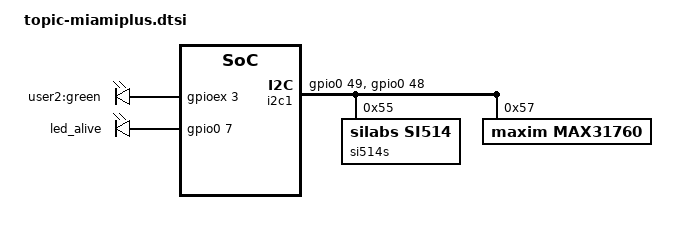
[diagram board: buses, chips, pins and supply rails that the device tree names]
/* the "plus" version has much more I/O pins, but lacks some periferals,
 * and the NAND was replaced by a dual-QSPI NOR setup. */

/* The miamiplus contains a speedgrade-2 device and runs at 800MHz */
&cpu0 {
	operating-points = <
		/* kHz    uV */
		800000  1000000
		400000  1000000
	>;
};

/* Remove missing periferals */
/delete-node/ &monitorcurrent;
/delete-node/ &ltc3562;

/* Different voltage monitoring IC */
&monitorvolt {
	compatible = "ad7997";
	reg = <0x21>;
	/* TODO: gpios */
};

/* Dual QSPI configuration */
&qspi {
	is-dual = <1>;
	num-cs = <2>;
};
&primary_flash {
	reg = <0>, <1>;
	parallel-memories = /bits/ 64 <0x4000000 0x4000000>; /* 2x 64MB */
};

/* The plus SOMs have a programmable clock for the high-speed tranceivers */
&i2c1 {
	si514s: si514@55 {
		reg = <0x55>;
		#clock-cells = <0>;
		compatible = "silabs,si514";
		clock-output-names = "si514miami";
	};
	max31760: max31760@57 {
		reg = <0x57>; /* Address pins "111" hence address 1010111b */
		compatible = "maxim,max31760";
	};
};

/* Extra user board LED on GPIO expander */
&leds {
	led_user2: user2 {
		label = "user2:green";
		gpios = <&gpioex 3 0>;
	};
};
/* Alive LED is on MIO7 instead of 25 */
&led_alive {
	gpios = <&gpio0 7 0>;
};
&pinctrl_leds_default {
	mux {
		groups = "gpio0_7_grp";
		function = "gpio0";
	};
	conf {
		groups = "gpio0_7_grp";
		slew-rate = <0>;
		power-source = <1>;
	};
};

/* I2C bus 1 using pins 48+49 */
&i2c1 {
	gpios = <&gpio0 49 0 /* sda */
		 &gpio0 48 0 /* scl */
		>;
};

&pinctrl_i2c1_default {
	mux {
		groups = "gpio0_48_grp", "gpio0_49_grp";
		function = "gpio0";
	};

	conf {
		groups = "gpio0_48_grp", "gpio0_49_grp";
		bias-pull-up;
		slew-rate = <0>;
		power-source = <1>;
	};
};
